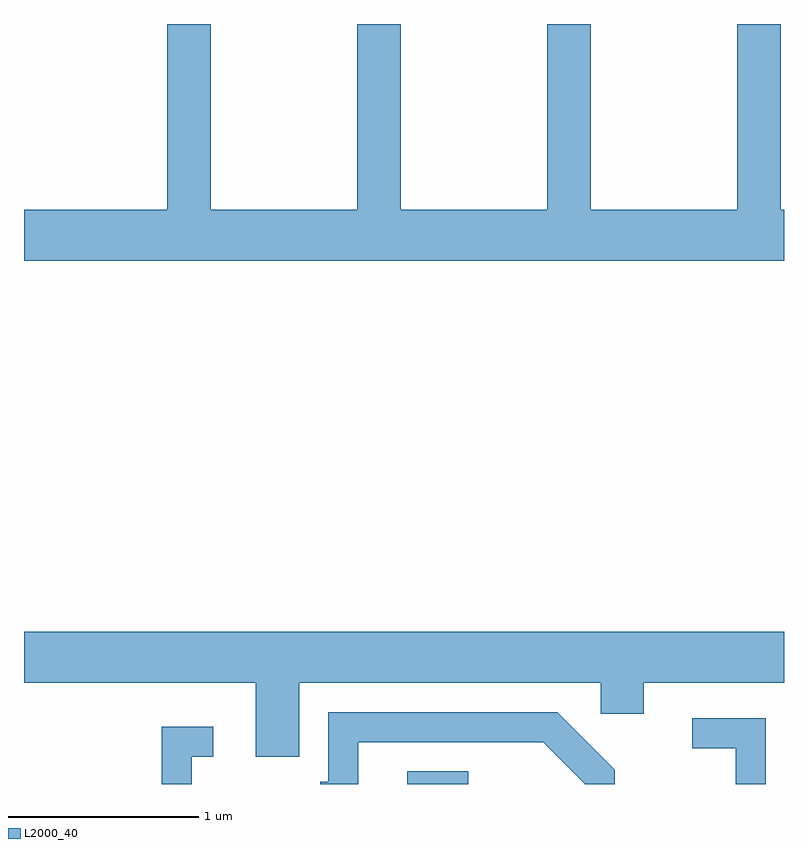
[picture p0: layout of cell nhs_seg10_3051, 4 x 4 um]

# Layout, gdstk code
import gdstk
lib = gdstk.Library(unit=1e-6, precision=1e-09)
def R(c, l, rs):  # rectangles x0, y0, x1, y1
    for r in rs: c.add(gdstk.rectangle(r[:2], r[2:], *l))
def P(c, l, *ps):  # polygons
    for p in ps: c.add(gdstk.Polygon(p, *l))
L2000_40 = (2000, 40)

nhs_seg10_3051 = lib.new_cell('nhs_seg10_3051')
R(nhs_seg10_3051, L2000_40, [(277.628,2084.522,277.949,2084.589)])
P(nhs_seg10_3051, L2000_40, [(279.611,2087.544),(279.594,2087.544),(279.594,2088.522),(279.366,2088.522),(279.366,2087.544),(278.594,2087.544),(278.594,2088.522),(278.366,2088.522),(278.366,2087.544),(277.594,2087.544),(277.594,2088.522),(277.366,2088.522),(277.366,2087.544),(276.594,2087.544),(276.594,2088.522),(276.366,2088.522),(276.366,2087.544),(275.611,2087.544),(275.611,2087.276),(279.611,2087.276)],
  [(277.059,2085.056),(278.646,2085.056),(278.646,2084.891),(278.874,2084.891),(278.874,2085.056),(279.611,2085.056),(279.611,2085.324),(275.611,2085.324),(275.611,2085.056),(276.831,2085.056),(276.831,2084.666),(277.059,2084.666)],
  [(277.369,2084.741),(278.344,2084.741),(278.561,2084.524),(278.561,2084.522),(278.719,2084.522),(278.719,2084.597),(278.417,2084.899),(277.211,2084.899),(277.211,2084.534),(277.171,2084.534),(277.171,2084.522),(277.369,2084.522)],
  [(279.514,2084.869),(279.128,2084.869),(279.128,2084.711),(279.356,2084.711),(279.356,2084.522),(279.514,2084.522)],
  [(276.494,2084.666),(276.608,2084.666),(276.608,2084.824),(276.336,2084.824),(276.336,2084.522),(276.494,2084.522)])

lib.write_gds('nhs_seg10_3051.gds')
